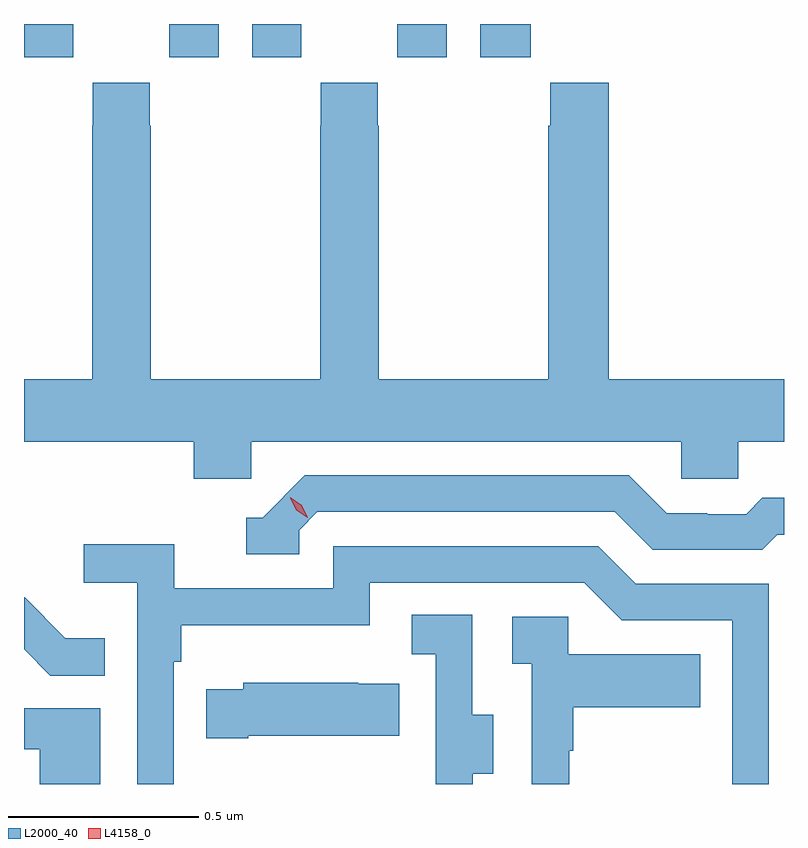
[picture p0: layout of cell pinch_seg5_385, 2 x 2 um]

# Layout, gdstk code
import gdstk
lib = gdstk.Library(unit=1e-6, precision=1e-09)
def R(c, l, rs):  # rectangles x0, y0, x1, y1
    for r in rs: c.add(gdstk.rectangle(r[:2], r[2:], *l))
def P(c, l, *ps):  # polygons
    for p in ps: c.add(gdstk.Polygon(p, *l))
L2000_40 = (2000, 40)
L4158_0 = (4158, 0)

pinch_seg5_385 = lib.new_cell('pinch_seg5_385')
R(pinch_seg5_385, L2000_40, [(995.804,880.416,995.934,880.503), (996.186,880.416,996.316,880.503), (996.404,880.416,996.534,880.503), (996.786,880.416,996.916,880.503), (997.004,880.416,997.138,880.503)])
P(pinch_seg5_385, L2000_40, [(996.402,879.404),(997.533,879.404),(997.533,879.306),(997.683,879.306),(997.683,879.404),(997.804,879.404),(997.804,879.568),(997.343,879.568),(997.343,880.348),(997.189,880.348),(997.189,880.235),(997.183,880.235),(997.183,879.568),(996.738,879.568),(996.738,880.235),(996.735,880.235),(996.735,880.348),(996.585,880.348),(996.585,880.235),(996.583,880.235),(996.583,879.568),(996.138,879.568),(996.138,880.235),(996.135,880.235),(996.135,880.348),(995.985,880.348),(995.985,880.235),(995.983,880.235),(995.983,879.568),(995.804,879.568),(995.804,879.404),(996.251,879.404),(996.251,879.306),(996.402,879.306)],
  [(996.528,879.171),(996.576,879.219),(997.359,879.219),(997.458,879.12),(997.747,879.12),(997.786,879.159),(997.804,879.159),(997.804,879.256),(997.747,879.256),(997.705,879.213),(997.602,879.213),(997.602,879.216),(997.495,879.216),(997.396,879.315),(996.543,879.315),(996.432,879.204),(996.389,879.204),(996.389,879.108),(996.528,879.108)],
  [(996.198,878.825),(996.218,878.825),(996.218,878.921),(996.714,878.921),(996.714,879.033),(997.278,879.033),(997.377,878.934),(997.668,878.934),(997.668,878.503),(997.764,878.503),(997.764,879.03),(997.414,879.03),(997.315,879.129),(996.618,879.129),(996.618,879.018),(996.2,879.018),(996.2,879.134),(995.961,879.134),(995.961,879.032),(996.102,879.032),(996.102,878.503),(996.198,878.503)],
  [(996.017,878.887),(995.913,878.887),(995.806,878.994),(995.804,878.994),(995.804,878.857),(995.873,878.788),(996.017,878.788)],
  [(996.985,878.53),(997.039,878.53),(997.039,878.685),(996.984,878.685),(996.984,878.948),(996.825,878.948),(996.825,878.845),(996.888,878.845),(996.888,878.541),(996.887,878.541),(996.887,878.503),(996.985,878.503)],
  [(997.239,878.591),(997.249,878.591),(997.249,878.705),(997.583,878.705),(997.583,878.845),(997.236,878.845),(997.236,878.943),(997.089,878.943),(997.089,878.819),(997.14,878.819),(997.14,878.503),(997.239,878.503)],
  [(996.394,878.63),(996.791,878.63),(996.791,878.767),(996.683,878.767),(996.683,878.77),(996.381,878.77),(996.381,878.752),(996.283,878.752),(996.283,878.623),(996.394,878.623)],
  [(996.004,878.703),(995.804,878.703),(995.804,878.595),(995.846,878.595),(995.846,878.503),(996.004,878.503)])
P(pinch_seg5_385, L4158_0, [(996.551,879.204),(996.52,879.224),(996.504,879.256),(996.504,879.257),(996.505,879.257),(996.535,879.237),(996.551,879.204),(996.551,879.204)])

lib.write_gds('pinch_seg5_385.gds')
